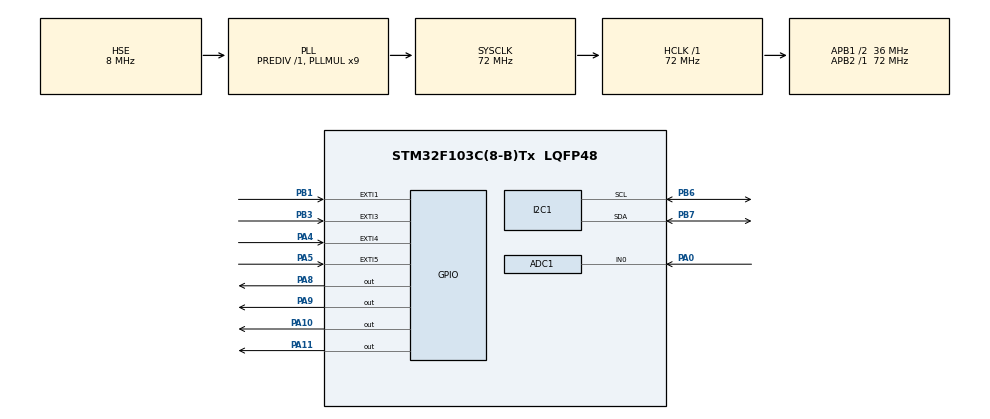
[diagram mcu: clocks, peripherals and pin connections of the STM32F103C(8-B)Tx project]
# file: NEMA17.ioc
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ADC1.Channel-0\#ChannelRegularConversion=ADC_CHANNEL_0
ADC1.ContinuousConvMode=ENABLE
ADC1.NbrOfConversionFlag=1
ADC1.Rank-0\#ChannelRegularConversion=1
ADC1.SamplingTime-0\#ChannelRegularConversion=ADC_SAMPLETIME_55CYCLES_5
ADC1.master=1
Dma.ADC1.0.Direction=DMA_PERIPH_TO_MEMORY
Dma.ADC1.0.Instance=DMA1_Channel1
Dma.ADC1.0.MemDataAlignment=DMA_MDATAALIGN_HALFWORD
Dma.ADC1.0.MemInc=DMA_MINC_ENABLE
Dma.ADC1.0.Mode=DMA_CIRCULAR
Dma.ADC1.0.PeriphDataAlignment=DMA_PDATAALIGN_HALFWORD
Dma.ADC1.0.PeriphInc=DMA_PINC_DISABLE
Dma.ADC1.0.Priority=DMA_PRIORITY_MEDIUM
Dma.Request0=ADC1
Mcu.Family=STM32F1
Mcu.Name=STM32F103C(8-B)Tx
Mcu.Package=LQFP48
NVIC.DMA1_Channel1_IRQn=true\:4\:0\:true\:false\:true\:false\:true\:true
NVIC.EXTI1_IRQn=true\:1\:0\:true\:false\:true\:true\:true\:true
NVIC.EXTI3_IRQn=true\:0\:0\:false\:false\:true\:true\:true\:true
NVIC.EXTI4_IRQn=true\:3\:0\:true\:false\:true\:true\:true\:true
NVIC.EXTI9_5_IRQn=true\:3\:0\:true\:false\:true\:true\:true\:true
NVIC.PriorityGroup=NVIC_PRIORITYGROUP_4
PA0-WKUP.Signal=ADCx_IN0
PA10.Signal=GPIO_Output
PA11.Signal=GPIO_Output
PA13.Mode=Serial_Wire
PA13.Signal=SYS_JTMS-SWDIO
PA14.Mode=Serial_Wire
PA14.Signal=SYS_JTCK-SWCLK
PA4.GPIO_ModeDefaultEXTI=GPIO_MODE_IT_FALLING
PA4.GPIO_PuPd=GPIO_PULLUP
PA4.Signal=GPXTI4
PA5.GPIO_ModeDefaultEXTI=GPIO_MODE_IT_FALLING
PA5.GPIO_PuPd=GPIO_PULLUP
PA5.Signal=GPXTI5
PA8.Signal=GPIO_Output
PA9.Signal=GPIO_Output
PB1.GPIO_ModeDefaultEXTI=GPIO_MODE_IT_FALLING
PB1.GPIO_PuPd=GPIO_PULLUP
PB1.Signal=GPXTI1
PB3.GPIO_ModeDefaultEXTI=GPIO_MODE_IT_FALLING
PB3.GPIO_PuPd=GPIO_PULLUP
PB3.Signal=GPXTI3
PB6.Mode=I2C
PB6.Signal=I2C1_SCL
PB7.Mode=I2C
PB7.Signal=I2C1_SDA
PD0-OSC_IN.Mode=HSE-External-Oscillator
PD0-OSC_IN.Signal=RCC_OSC_IN
PD1-OSC_OUT.Mode=HSE-External-Oscillator
PD1-OSC_OUT.Signal=RCC_OSC_OUT
ProjectManager.HeapSize=0x200
ProjectManager.StackSize=0x400
ProjectManager.TargetToolchain=MDK-ARM V5.32
RCC.ADCPresc=RCC_ADCPCLK2_DIV6
RCC.AHBFreq_Value=72000000
RCC.APB1CLKDivider=RCC_HCLK_DIV2
RCC.APB1Freq_Value=36000000
RCC.APB1TimFreq_Value=72000000
RCC.APB2Freq_Value=72000000
RCC.APB2TimFreq_Value=72000000
RCC.HCLKFreq_Value=72000000
RCC.PLLMUL=RCC_PLL_MUL9
RCC.PLLSourceVirtual=RCC_PLLSOURCE_HSE
RCC.SYSCLKFreq_VALUE=72000000
RCC.SYSCLKSource=RCC_SYSCLKSOURCE_PLLCLK
RCC.USBFreq_Value=72000000
SH.ADCx_IN0.0=ADC1_IN0,IN0
TIM1.Prescaler=71
TIM2.Prescaler=71
VP_TIM1_VS_ClockSourceINT.Mode=Internal
VP_TIM2_VS_ClockSourceINT.Mode=Internal
board=custom

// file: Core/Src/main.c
/* USER CODE BEGIN Header */
/**
  ******************************************************************************
  * @file           : main.c
  * @brief          : Main program body
  ******************************************************************************
  * @attention
  *
  * Copyright (c) 2023 STMicroelectronics.
  * All rights reserved.
  *
  * This software is licensed under terms that can be found in the LICENSE file
  * in the root directory of this software component.
  * If no LICENSE file comes with this software, it is provided AS-IS.
  *
  ******************************************************************************
  */
/* USER CODE END Header */
#include "main.h"

/* USER CODE BEGIN Includes */
#include "DS1307.h"
#include "i2c-lcd.h"
#include "stdio.h"
/* USER CODE END Includes */

ADC_HandleTypeDef hadc1;
DMA_HandleTypeDef hdma_adc1;

I2C_HandleTypeDef hi2c1;

TIM_HandleTypeDef htim1;
TIM_HandleTypeDef htim2;

void SystemClock_Config(void);
static void MX_GPIO_Init(void);
static void MX_DMA_Init(void);
static void MX_TIM1_Init(void);
static void MX_ADC1_Init(void);
static void MX_I2C1_Init(void);
static void MX_TIM2_Init(void);

/* USER CODE BEGIN 0 */
#define IN1_PIN GPIO_PIN_8
#define IN1_PORT GPIOA
#define IN2_PIN GPIO_PIN_9
#define IN2_PORT GPIOA
#define IN3_PIN GPIO_PIN_10
#define IN3_PORT GPIOA
#define IN4_PIN GPIO_PIN_11
#define IN4_PORT GPIOA

void microDelay (uint16_t delay)
{
  __HAL_TIM_SET_COUNTER(&htim2, 0);
  while (__HAL_TIM_GET_COUNTER(&htim2) < delay);
}

void stepCCV (int steps, uint16_t delay) // CCV - Counter Clockwise
{
  for(int x=0; x<steps; x=x+1)
  {
    HAL_GPIO_WritePin(IN1_PORT, IN1_PIN, GPIO_PIN_SET);   // IN1
    HAL_GPIO_WritePin(IN2_PORT, IN2_PIN, GPIO_PIN_RESET); // IN2
    HAL_GPIO_WritePin(IN3_PORT, IN3_PIN, GPIO_PIN_RESET); // IN3
    HAL_GPIO_WritePin(IN4_PORT, IN4_PIN, GPIO_PIN_RESET); // IN4
    microDelay(delay);
    HAL_GPIO_WritePin(IN1_PORT, IN1_PIN, GPIO_PIN_SET);   // IN1
    HAL_GPIO_WritePin(IN2_PORT, IN2_PIN, GPIO_PIN_SET);   // IN2
    HAL_GPIO_WritePin(IN3_PORT, IN3_PIN, GPIO_PIN_RESET); // IN3
    HAL_GPIO_WritePin(IN4_PORT, IN4_PIN, GPIO_PIN_RESET); // IN4
    microDelay(delay);
    HAL_GPIO_WritePin(IN1_PORT, IN1_PIN, GPIO_PIN_RESET); // IN1
    HAL_GPIO_WritePin(IN2_PORT, IN2_PIN, GPIO_PIN_SET);   // IN2
    HAL_GPIO_WritePin(IN3_PORT, IN3_PIN, GPIO_PIN_RESET); // IN3
    HAL_GPIO_WritePin(IN4_PORT, IN4_PIN, GPIO_PIN_RESET); // IN4
    microDelay(delay);
    HAL_GPIO_WritePin(IN1_PORT, IN1_PIN, GPIO_PIN_RESET); // IN1
    HAL_GPIO_WritePin(IN2_PORT, IN2_PIN, GPIO_PIN_SET);   // IN2
    HAL_GPIO_WritePin(IN3_PORT, IN3_PIN, GPIO_PIN_SET);   // IN3
    HAL_GPIO_WritePin(IN4_PORT, IN4_PIN, GPIO_PIN_RESET); // IN4
    microDelay(delay);
    HAL_GPIO_WritePin(IN1_PORT, IN1_PIN, GPIO_PIN_RESET); // IN1
    HAL_GPIO_WritePin(IN2_PORT, IN2_PIN, GPIO_PIN_RESET); // IN2
    HAL_GPIO_WritePin(IN3_PORT, IN3_PIN, GPIO_PIN_SET);   // IN3
    HAL_GPIO_WritePin(IN4_PORT, IN4_PIN, GPIO_PIN_RESET); // IN4
    microDelay(delay);
    HAL_GPIO_WritePin(IN1_PORT, IN1_PIN, GPIO_PIN_RESET); // IN1
    HAL_GPIO_WritePin(IN2_PORT, IN2_PIN, GPIO_PIN_RESET); // IN2
    HAL_GPIO_WritePin(IN3_PORT, IN3_PIN, GPIO_PIN_SET);   // IN3
    HAL_GPIO_WritePin(IN4_PORT, IN4_PIN, GPIO_PIN_SET);   // IN4
    microDelay(delay);
    HAL_GPIO_WritePin(IN1_PORT, IN1_PIN, GPIO_PIN_RESET); // IN1
    HAL_GPIO_WritePin(IN2_PORT, IN2_PIN, GPIO_PIN_RESET); // IN2
    HAL_GPIO_WritePin(IN3_PORT, IN3_PIN, GPIO_PIN_RESET); // IN3
    HAL_GPIO_WritePin(IN4_PORT, IN4_PIN, GPIO_PIN_SET);   // IN4
    microDelay(delay);
    HAL_GPIO_WritePin(IN1_PORT, IN1_PIN, GPIO_PIN_SET);   // IN1
    HAL_GPIO_WritePin(IN2_PORT, IN2_PIN, GPIO_PIN_RESET); // IN2
    HAL_GPIO_WritePin(IN3_PORT, IN3_PIN, GPIO_PIN_RESET); // IN3
    HAL_GPIO_WritePin(IN4_PORT, IN4_PIN, GPIO_PIN_SET);   // IN4
    microDelay(delay);
  }
}

void stepCV (int steps, uint16_t delay) // CV - Clockwise
{
  for(int x=0; x<steps; x=x+1)
  {
    HAL_GPIO_WritePin(IN1_PORT, IN1_PIN, GPIO_PIN_SET);   // IN1
    HAL_GPIO_WritePin(IN2_PORT, IN2_PIN, GPIO_PIN_RESET); // IN2
    HAL_GPIO_WritePin(IN3_PORT, IN3_PIN, GPIO_PIN_RESET); // IN3
    HAL_GPIO_WritePin(IN4_PORT, IN4_PIN, GPIO_PIN_SET);   // IN4
    microDelay(delay);
    HAL_GPIO_WritePin(IN1_PORT, IN1_PIN, GPIO_PIN_RESET); // IN1
    HAL_GPIO_WritePin(IN2_PORT, IN2_PIN, GPIO_PIN_RESET); // IN2
    HAL_GPIO_WritePin(IN3_PORT, IN3_PIN, GPIO_PIN_RESET); // IN3
    HAL_GPIO_WritePin(IN4_PORT, IN4_PIN, GPIO_PIN_SET);   // IN4
    microDelay(delay);
    HAL_GPIO_WritePin(IN1_PORT, IN1_PIN, GPIO_PIN_RESET); // IN1
    HAL_GPIO_WritePin(IN2_PORT, IN2_PIN, GPIO_PIN_RESET); // IN2
    HAL_GPIO_WritePin(IN3_PORT, IN3_PIN, GPIO_PIN_SET);   // IN3
    HAL_GPIO_WritePin(IN4_PORT, IN4_PIN, GPIO_PIN_SET);   // IN4
    microDelay(delay);
    HAL_GPIO_WritePin(IN1_PORT, IN1_PIN, GPIO_PIN_RESET); // IN1
    HAL_GPIO_WritePin(IN2_PORT, IN2_PIN, GPIO_PIN_RESET); // IN2
    HAL_GPIO_WritePin(IN3_PORT, IN3_PIN, GPIO_PIN_SET);   // IN3
    HAL_GPIO_WritePin(IN4_PORT, IN4_PIN, GPIO_PIN_RESET); // IN4
    microDelay(delay);
    HAL_GPIO_WritePin(IN1_PORT, IN1_PIN, GPIO_PIN_RESET); // IN1
    HAL_GPIO_WritePin(IN2_PORT, IN2_PIN, GPIO_PIN_SET);   // IN2
    HAL_GPIO_WritePin(IN3_PORT, IN3_PIN, GPIO_PIN_SET);   // IN3
    HAL_GPIO_WritePin(IN4_PORT, IN4_PIN, GPIO_PIN_RESET); // IN4
    microDelay(delay);
    HAL_GPIO_WritePin(IN1_PORT, IN1_PIN, GPIO_PIN_RESET); // IN1
    HAL_GPIO_WritePin(IN2_PORT, IN2_PIN, GPIO_PIN_SET);   // IN2
    HAL_GPIO_WritePin(IN3_PORT, IN3_PIN, GPIO_PIN_RESET); // IN3
    HAL_GPIO_WritePin(IN4_PORT, IN4_PIN, GPIO_PIN_RESET); // IN4
    microDelay(delay);
    HAL_GPIO_WritePin(IN1_PORT, IN1_PIN, GPIO_PIN_SET);   // IN1
    HAL_GPIO_WritePin(IN2_PORT, IN2_PIN, GPIO_PIN_SET);   // IN2
    HAL_GPIO_WritePin(IN3_PORT, IN3_PIN, GPIO_PIN_RESET); // IN3
    HAL_GPIO_WritePin(IN4_PORT, IN4_PIN, GPIO_PIN_RESET); // IN4
    microDelay(delay);
    HAL_GPIO_WritePin(IN1_PORT, IN1_PIN, GPIO_PIN_SET);   // IN1
    HAL_GPIO_WritePin(IN2_PORT, IN2_PIN, GPIO_PIN_RESET); // IN2
    HAL_GPIO_WritePin(IN3_PORT, IN3_PIN, GPIO_PIN_RESET); // IN3
    HAL_GPIO_WritePin(IN4_PORT, IN4_PIN, GPIO_PIN_RESET); // IN4
    microDelay(delay);
  }
}

void stop (void) // Stopmotor
{
    HAL_GPIO_WritePin(IN1_PORT, IN1_PIN, GPIO_PIN_RESET);   // IN1
    HAL_GPIO_WritePin(IN2_PORT, IN2_PIN, GPIO_PIN_RESET); // IN2
    HAL_GPIO_WritePin(IN3_PORT, IN3_PIN, GPIO_PIN_RESET); // IN3
    HAL_GPIO_WritePin(IN4_PORT, IN4_PIN, GPIO_PIN_RESET);   // IN4
}
uint8_t s, m, h, day, mon, year; //bien thoi gian
char val_time[8];

uint32_t val = 0;  // bien doc gia tri ADC DMA
uint32_t now_val = 0;

uint32_t countmode = 1;  // bien dem mode

// cau hinh chan dieu khien dong co
#define DIR_PIN GPIO_PIN_1
#define DIR_PORT GPIOA
#define STEP_PIN GPIO_PIN_2
#define STEP_PORT GPIOA

/* Ham quay dong co
void microDelay1 (uint16_t delay)
{
  __HAL_TIM_SET_COUNTER(&htim1, 0);
  while (__HAL_TIM_GET_COUNTER(&htim1) < delay);
}

void step (int steps, uint8_t direction, uint16_t delay)
{
  int x;
  if (direction == 0)
    HAL_GPIO_WritePin(DIR_PORT, DIR_PIN, GPIO_PIN_SET);
  else
    HAL_GPIO_WritePin(DIR_PORT, DIR_PIN, GPIO_PIN_RESET);
  for(x=0; x<steps; x=x+1)
  {
    HAL_GPIO_WritePin(STEP_PORT, STEP_PIN, GPIO_PIN_SET);
    microDelay(delay);
    HAL_GPIO_WritePin(STEP_PORT, STEP_PIN, GPIO_PIN_RESET);
    microDelay(delay);
  }

}
*/

void HAL_GPIO_EXTI_Callback(uint16_t GPIO_Pin)
{
	if(GPIO_Pin == GPIO_PIN_4)  // nut mo rem (dong co quay nghich)
		{
			for(int x = 1000; x>0; x--);
//			HAL_GPIO_WritePin(GPIOA, GPIO_PIN_3, GPIO_PIN_RESET);
//			step(200,1,5000);
//			HAL_GPIO_WritePin(GPIOA, GPIO_PIN_3, GPIO_PIN_SET);
			stepCV(512, 1000);
			__HAL_GPIO_EXTI_CLEAR_IT(GPIO_PIN_4);
			HAL_NVIC_ClearPendingIRQ(EXTI4_IRQn);

//			HAL_PWR_EnterSTANDBYMode();
			HAL_SuspendTick();
			HAL_PWR_EnterSLEEPMode(PWR_MAINREGULATOR_ON, PWR_SLEEPENTRY_WFI);
			HAL_ResumeTick();
		}
	else if(GPIO_Pin == GPIO_PIN_5)  // nut dong rem (dong co quay thuan)
		{
			for(int x = 1000; x>0; x--);
//			HAL_GPIO_WritePin(GPIOA, GPIO_PIN_3, GPIO_PIN_RESET);
//			step(200,0,5000);
//			HAL_GPIO_WritePin(GPIOA, GPIO_PIN_3, GPIO_PIN_SET);
			stepCCV(512, 1000);
			__HAL_GPIO_EXTI_CLEAR_IT(GPIO_PIN_5);
			HAL_NVIC_ClearPendingIRQ(EXTI9_5_IRQn);

			HAL_SuspendTick();
			HAL_PWR_EnterSLEEPMode(PWR_MAINREGULATOR_ON, PWR_SLEEPENTRY_WFI);
			HAL_ResumeTick();
		}
	else if(GPIO_Pin == GPIO_PIN_1)  // nut dung dong co
		{
			for(int x = 100; x>0; x--);
//			HAL_GPIO_WritePin(GPIOA, GPIO_PIN_3, GPIO_PIN_SET);
			__HAL_GPIO_EXTI_CLEAR_IT(GPIO_PIN_4);
			HAL_NVIC_ClearPendingIRQ(EXTI4_IRQn);
			__HAL_GPIO_EXTI_CLEAR_IT(GPIO_PIN_5);
			HAL_NVIC_ClearPendingIRQ(EXTI9_5_IRQn);
			stop();

			while (HAL_GPIO_ReadPin(GPIOA, GPIO_PIN_4) != 0 && HAL_GPIO_ReadPin(GPIOA, GPIO_PIN_5) != 0 && HAL_GPIO_ReadPin(GPIOB, GPIO_PIN_3) != 0);
			__HAL_GPIO_EXTI_CLEAR_IT(GPIO_PIN_1);
			HAL_NVIC_ClearPendingIRQ(EXTI1_IRQn);
		}
	else if(GPIO_Pin == GPIO_PIN_3)  // nut chon Mode
		{
      for(int x = 1000; x>0; x--);
			countmode ++;
			val = 2000;
			__HAL_GPIO_EXTI_CLEAR_IT(GPIO_PIN_3);
			HAL_NVIC_ClearPendingIRQ(EXTI3_IRQn);
//      for(int x = 1000; x>0; x--);
		}
}

/* USER CODE END 0 */

int main(void)
{

  /* MCU Configuration--------------------------------------------------------*/

  /* Reset of all peripherals, Initializes the Flash interface and the Systick. */
  HAL_Init();

  /* Configure the system clock */
  SystemClock_Config();

  /* Initialize all configured peripherals */
  MX_GPIO_Init();
  MX_DMA_Init();
  MX_TIM1_Init();
  MX_ADC1_Init();
  MX_I2C1_Init();
  MX_TIM2_Init();
  /* USER CODE BEGIN 2 */
  HAL_TIM_Base_Start(&htim1);
	HAL_TIM_Base_Start(&htim2);
	lcd_init();
	HAL_ADC_Start_DMA(&hadc1, &val, 1);
	RTC_Write_Time(00, 55, 8);
	RTC_Write_Date(1, 1, 24);
  /* USER CODE END 2 */

  /* Infinite loop */
  /* USER CODE BEGIN WHILE */
  while (1)
  {
		__HAL_GPIO_EXTI_CLEAR_IT(GPIO_PIN_4);
		HAL_NVIC_ClearPendingIRQ(EXTI4_IRQn);
		__HAL_GPIO_EXTI_CLEAR_IT(GPIO_PIN_5);
		HAL_NVIC_ClearPendingIRQ(EXTI9_5_IRQn);
		__HAL_GPIO_EXTI_CLEAR_IT(GPIO_PIN_1);
		HAL_NVIC_ClearPendingIRQ(EXTI1_IRQn);

		while (countmode % 3 == 1) // Mode 1: Dieu khien thu cong bang nut nhan
		{

		// Hien thi LCD
		RTC_Read_Time(&s, &m, &h);
		sprintf(val_time,"%02d:%02d:%02d", h, m, s);
		lcd_goto_XY(1, 0);
		lcd_send_string(val_time);
		lcd_goto_XY(0, 0);
		lcd_send_string("Mode 1: Thucong ");

		// Dieu khien dong co
		HAL_NVIC_EnableIRQ(EXTI4_IRQn);
    HAL_NVIC_EnableIRQ(EXTI9_5_IRQn);
		HAL_NVIC_EnableIRQ(EXTI1_IRQn);

		}

		while (countmode % 3 == 2)  // Mode 2: Dieu khien theo anh sang
		{
    HAL_NVIC_DisableIRQ(EXTI4_IRQn);
    HAL_NVIC_DisableIRQ(EXTI9_5_IRQn);
    HAL_NVIC_DisableIRQ(EXTI1_IRQn);
		HAL_Delay(0);

		// Hien thi LCD
		RTC_Read_Time(&s, &m, &h);
		sprintf(val_time,"%02d:%02d:%02d", h, m, s);
		lcd_goto_XY(1, 0);
		lcd_send_string(val_time);
		lcd_goto_XY(0, 0);
		lcd_send_string("Mode 2: Anhsang ");

    // Dieu khien dong co
//    HAL_NVIC_DisableIRQ(EXTI4_IRQn);
//    HAL_NVIC_DisableIRQ(EXTI9_5_IRQn);
//    HAL_NVIC_DisableIRQ(EXTI1_IRQn);

		if (val > 2000 && now_val <2000)  // Troi toi --> mo rem
	    {
//		    HAL_GPIO_WritePin(GPIOA, GPIO_PIN_3, GPIO_PIN_RESET);
//				step(200,1,5000); // 1 vong quay nguoc chieu kim dong ho
//				HAL_GPIO_WritePin(GPIOA, GPIO_PIN_3, GPIO_PIN_SET);
				stepCV(512, 1000);

	    }
		else if (val < 2000 && (now_val != val && now_val > 2000))  // Troi sang --> Dong rem
		  {
//				 HAL_GPIO_WritePin(GPIOA, GPIO_PIN_3, GPIO_PIN_RESET);
//				 step(200,0,5000);
//				 HAL_GPIO_WritePin(GPIOA, GPIO_PIN_3, GPIO_PIN_SET);
				 stepCCV(512, 1000);
	    }
		now_val = val;

		}

		while (countmode % 3 == 0)  // Mode 3: Dieu khien tu dong time
		{

		// Hien thi LCD
		RTC_Read_Time(&s, &m, &h);
		sprintf(val_time,"%02d:%02d:%02d", h, m, s);
		lcd_goto_XY(1, 0);
		lcd_send_string(val_time);
		lcd_goto_XY(0, 0);
		lcd_send_string("Mode 3: Thoigian");

    // Dieu khien dong co
    HAL_NVIC_DisableIRQ(EXTI4_IRQn);
    HAL_NVIC_DisableIRQ(EXTI9_5_IRQn);
    HAL_NVIC_DisableIRQ(EXTI1_IRQn);

		if (h == 8 && m == 57 && s ==10)  // Gio mo rem
	    {
//	       HAL_GPIO_WritePin(GPIOA, GPIO_PIN_3, GPIO_PIN_RESET);
//		     step(200,1,5000);
//		     HAL_GPIO_WritePin(GPIOA, GPIO_PIN_3, GPIO_PIN_SET);
				stepCV(512, 1000);
		  }
		else if(h == 8 && m == 57 && s == 30)  // Gio dong rem
		  {
//		     HAL_GPIO_WritePin(GPIOA, GPIO_PIN_3, GPIO_PIN_RESET);
//		     step(200,0,5000);
//		     HAL_GPIO_WritePin(GPIOA, GPIO_PIN_3, GPIO_PIN_SET);
				stepCCV(512, 1000);
		  }

		}

    /* USER CODE END WHILE */

  }
}

void SystemClock_Config(void)
{
  RCC_OscInitTypeDef RCC_OscInitStruct = {0};
  RCC_ClkInitTypeDef RCC_ClkInitStruct = {0};
  RCC_PeriphCLKInitTypeDef PeriphClkInit = {0};

  /** Initializes the RCC Oscillators according to the specified parameters
  * in the RCC_OscInitTypeDef structure.
  */
  RCC_OscInitStruct.OscillatorType = RCC_OSCILLATORTYPE_HSE;
  RCC_OscInitStruct.HSEState = RCC_HSE_ON;
  RCC_OscInitStruct.HSEPredivValue = RCC_HSE_PREDIV_DIV1;
  RCC_OscInitStruct.HSIState = RCC_HSI_ON;
  RCC_OscInitStruct.PLL.PLLState = RCC_PLL_ON;
  RCC_OscInitStruct.PLL.PLLSource = RCC_PLLSOURCE_HSE;
  RCC_OscInitStruct.PLL.PLLMUL = RCC_PLL_MUL9;
  if (HAL_RCC_OscConfig(&RCC_OscInitStruct) != HAL_OK)
  {
    Error_Handler();
  }

  /** Initializes the CPU, AHB and APB buses clocks
  */
  RCC_ClkInitStruct.ClockType = RCC_CLOCKTYPE_HCLK|RCC_CLOCKTYPE_SYSCLK
                              |RCC_CLOCKTYPE_PCLK1|RCC_CLOCKTYPE_PCLK2;
  RCC_ClkInitStruct.SYSCLKSource = RCC_SYSCLKSOURCE_PLLCLK;
  RCC_ClkInitStruct.AHBCLKDivider = RCC_SYSCLK_DIV1;
  RCC_ClkInitStruct.APB1CLKDivider = RCC_HCLK_DIV2;
  RCC_ClkInitStruct.APB2CLKDivider = RCC_HCLK_DIV1;

  if (HAL_RCC_ClockConfig(&RCC_ClkInitStruct, FLASH_LATENCY_2) != HAL_OK)
  {
    Error_Handler();
  }
  PeriphClkInit.PeriphClockSelection = RCC_PERIPHCLK_ADC;
  PeriphClkInit.AdcClockSelection = RCC_ADCPCLK2_DIV6;
  if (HAL_RCCEx_PeriphCLKConfig(&PeriphClkInit) != HAL_OK)
  {
    Error_Handler();
  }
}

static void MX_ADC1_Init(void)
{

  ADC_ChannelConfTypeDef sConfig = {0};

  /** Common config
  */
  hadc1.Instance = ADC1;
  hadc1.Init.ScanConvMode = ADC_SCAN_DISABLE;
  hadc1.Init.ContinuousConvMode = ENABLE;
  hadc1.Init.DiscontinuousConvMode = DISABLE;
  hadc1.Init.ExternalTrigConv = ADC_SOFTWARE_START;
  hadc1.Init.DataAlign = ADC_DATAALIGN_RIGHT;
  hadc1.Init.NbrOfConversion = 1;
  if (HAL_ADC_Init(&hadc1) != HAL_OK)
  {
    Error_Handler();
  }

  /** Configure Regular Channel
  */
  sConfig.Channel = ADC_CHANNEL_0;
  sConfig.Rank = ADC_REGULAR_RANK_1;
  sConfig.SamplingTime = ADC_SAMPLETIME_55CYCLES_5;
  if (HAL_ADC_ConfigChannel(&hadc1, &sConfig) != HAL_OK)
  {
    Error_Handler();
  }

}

static void MX_I2C1_Init(void)
{

  hi2c1.Instance = I2C1;
  hi2c1.Init.ClockSpeed = 100000;
  hi2c1.Init.DutyCycle = I2C_DUTYCYCLE_2;
  hi2c1.Init.OwnAddress1 = 0;
  hi2c1.Init.AddressingMode = I2C_ADDRESSINGMODE_7BIT;
  hi2c1.Init.DualAddressMode = I2C_DUALADDRESS_DISABLE;
  hi2c1.Init.OwnAddress2 = 0;
  hi2c1.Init.GeneralCallMode = I2C_GENERALCALL_DISABLE;
  hi2c1.Init.NoStretchMode = I2C_NOSTRETCH_DISABLE;
  if (HAL_I2C_Init(&hi2c1) != HAL_OK)
  {
    Error_Handler();
  }

}

static void MX_TIM1_Init(void)
{

  TIM_ClockConfigTypeDef sClockSourceConfig = {0};
  TIM_MasterConfigTypeDef sMasterConfig = {0};

  htim1.Instance = TIM1;
  htim1.Init.Prescaler = 71;
  htim1.Init.CounterMode = TIM_COUNTERMODE_UP;
  htim1.Init.Period = 65535;
  htim1.Init.ClockDivision = TIM_CLOCKDIVISION_DIV1;
  htim1.Init.RepetitionCounter = 0;
  htim1.Init.AutoReloadPreload = TIM_AUTORELOAD_PRELOAD_DISABLE;
  if (HAL_TIM_Base_Init(&htim1) != HAL_OK)
  {
    Error_Handler();
  }
  sClockSourceConfig.ClockSource = TIM_CLOCKSOURCE_INTERNAL;
  if (HAL_TIM_ConfigClockSource(&htim1, &sClockSourceConfig) != HAL_OK)
  {
    Error_Handler();
  }
  sMasterConfig.MasterOutputTrigger = TIM_TRGO_RESET;
  sMasterConfig.MasterSlaveMode = TIM_MASTERSLAVEMODE_DISABLE;
  if (HAL_TIMEx_MasterConfigSynchronization(&htim1, &sMasterConfig) != HAL_OK)
  {
    Error_Handler();
  }

}

static void MX_TIM2_Init(void)
{

  TIM_ClockConfigTypeDef sClockSourceConfig = {0};
  TIM_MasterConfigTypeDef sMasterConfig = {0};

  htim2.Instance = TIM2;
  htim2.Init.Prescaler = 71;
  htim2.Init.CounterMode = TIM_COUNTERMODE_UP;
  htim2.Init.Period = 65535;
  htim2.Init.ClockDivision = TIM_CLOCKDIVISION_DIV1;
  htim2.Init.AutoReloadPreload = TIM_AUTORELOAD_PRELOAD_DISABLE;
  if (HAL_TIM_Base_Init(&htim2) != HAL_OK)
  {
    Error_Handler();
  }
  sClockSourceConfig.ClockSource = TIM_CLOCKSOURCE_INTERNAL;
  if (HAL_TIM_ConfigClockSource(&htim2, &sClockSourceConfig) != HAL_OK)
  {
    Error_Handler();
  }
  sMasterConfig.MasterOutputTrigger = TIM_TRGO_RESET;
  sMasterConfig.MasterSlaveMode = TIM_MASTERSLAVEMODE_DISABLE;
  if (HAL_TIMEx_MasterConfigSynchronization(&htim2, &sMasterConfig) != HAL_OK)
  {
    Error_Handler();
  }

}

static void MX_DMA_Init(void)
{

  /* DMA controller clock enable */
  __HAL_RCC_DMA1_CLK_ENABLE();

  /* DMA interrupt init */
  /* DMA1_Channel1_IRQn interrupt configuration */
  HAL_NVIC_SetPriority(DMA1_Channel1_IRQn, 4, 0);
  HAL_NVIC_EnableIRQ(DMA1_Channel1_IRQn);

}

static void MX_GPIO_Init(void)
{
  GPIO_InitTypeDef GPIO_InitStruct = {0};

  /* GPIO Ports Clock Enable */
  __HAL_RCC_GPIOD_CLK_ENABLE();
  __HAL_RCC_GPIOA_CLK_ENABLE();
  __HAL_RCC_GPIOB_CLK_ENABLE();

  /*Configure GPIO pin Output Level */
  HAL_GPIO_WritePin(GPIOA, GPIO_PIN_8|GPIO_PIN_9|GPIO_PIN_10|GPIO_PIN_11, GPIO_PIN_RESET);

  /*Configure GPIO pins : PA4 PA5 */
  GPIO_InitStruct.Pin = GPIO_PIN_4|GPIO_PIN_5;
  GPIO_InitStruct.Mode = GPIO_MODE_IT_FALLING;
  GPIO_InitStruct.Pull = GPIO_PULLUP;
  HAL_GPIO_Init(GPIOA, &GPIO_InitStruct);

  /*Configure GPIO pins : PB1 PB3 */
  GPIO_InitStruct.Pin = GPIO_PIN_1|GPIO_PIN_3;
  GPIO_InitStruct.Mode = GPIO_MODE_IT_FALLING;
  GPIO_InitStruct.Pull = GPIO_PULLUP;
  HAL_GPIO_Init(GPIOB, &GPIO_InitStruct);

  /*Configure GPIO pins : PA8 PA9 PA10 PA11 */
  GPIO_InitStruct.Pin = GPIO_PIN_8|GPIO_PIN_9|GPIO_PIN_10|GPIO_PIN_11;
  GPIO_InitStruct.Mode = GPIO_MODE_OUTPUT_PP;
  GPIO_InitStruct.Pull = GPIO_NOPULL;
  GPIO_InitStruct.Speed = GPIO_SPEED_FREQ_LOW;
  HAL_GPIO_Init(GPIOA, &GPIO_InitStruct);

  /* EXTI interrupt init*/
  HAL_NVIC_SetPriority(EXTI1_IRQn, 1, 0);
  HAL_NVIC_EnableIRQ(EXTI1_IRQn);

  HAL_NVIC_SetPriority(EXTI3_IRQn, 0, 0);
  HAL_NVIC_EnableIRQ(EXTI3_IRQn);

  HAL_NVIC_SetPriority(EXTI4_IRQn, 3, 0);
  HAL_NVIC_EnableIRQ(EXTI4_IRQn);

  HAL_NVIC_SetPriority(EXTI9_5_IRQn, 3, 0);
  HAL_NVIC_EnableIRQ(EXTI9_5_IRQn);

}

void Error_Handler(void)
{
  __disable_irq();
  while (1)
  {
  }
}
